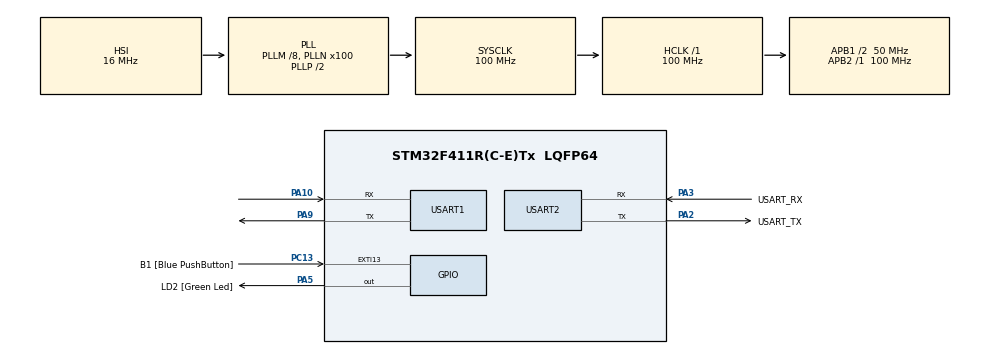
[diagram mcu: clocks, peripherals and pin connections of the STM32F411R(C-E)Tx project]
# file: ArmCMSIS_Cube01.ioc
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Mcu.Family=STM32F4
Mcu.Name=STM32F411R(C-E)Tx
Mcu.Package=LQFP64
NVIC.PriorityGroup=NVIC_PRIORITYGROUP_0
NVIC.USART1_IRQn=true\:0\:0\:false\:false\:true\:true\:true
NVIC.USART2_IRQn=true\:0\:0\:false\:false\:true\:true\:true
PA10.Mode=Asynchronous
PA10.Signal=USART1_RX
PA13.GPIO_Label=TMS
PA13.Mode=Serial_Wire
PA13.Signal=SYS_JTMS-SWDIO
PA14.GPIO_Label=TCK
PA14.Mode=Serial_Wire
PA14.Signal=SYS_JTCK-SWCLK
PA2.GPIO_Label=USART_TX
PA2.Mode=Asynchronous
PA2.Signal=USART2_TX
PA3.GPIO_Label=USART_RX
PA3.Mode=Asynchronous
PA3.Signal=USART2_RX
PA5.GPIO_Label=LD2 [Green Led]
PA5.Signal=GPIO_Output
PA9.Mode=Asynchronous
PA9.Signal=USART1_TX
PB3.GPIO_Label=SWO
PB3.Signal=SYS_JTDO-SWO
PC13-ANTI_TAMP.GPIO_Label=B1 [Blue PushButton]
PC13-ANTI_TAMP.GPIO_ModeDefaultEXTI=GPIO_MODE_IT_FALLING
PC13-ANTI_TAMP.Signal=GPXTI13
PC14-OSC32_IN.Mode=LSE-External-Oscillator
PC14-OSC32_IN.Signal=RCC_OSC32_IN
PC15-OSC32_OUT.Mode=LSE-External-Oscillator
PC15-OSC32_OUT.Signal=RCC_OSC32_OUT
PH0\ -\ OSC_IN.Mode=HSE-External-Clock-Source
PH0\ -\ OSC_IN.Signal=RCC_OSC_IN
PH1\ -\ OSC_OUT.Mode=HSE-External-Clock-Source
PH1\ -\ OSC_OUT.Signal=RCC_OSC_OUT
ProjectManager.HeapSize=0x800
ProjectManager.StackSize=0xF00
ProjectManager.TargetToolchain=MDK-ARM V5.27
RCC.48MHZClocksFreq_Value=50000000
RCC.AHBFreq_Value=100000000
RCC.APB1CLKDivider=RCC_HCLK_DIV2
RCC.APB1Freq_Value=50000000
RCC.APB1TimFreq_Value=100000000
RCC.APB2Freq_Value=100000000
RCC.APB2TimFreq_Value=100000000
RCC.CortexFreq_Value=100000000
RCC.FLatency-AdvancedSettings=FLASH_LATENCY_3
RCC.HCLKFreq_Value=100000000
RCC.HSE_VALUE=8000000
RCC.HSI_VALUE=16000000
RCC.PLLM=8
RCC.PLLN=100
RCC.SYSCLKFreq_VALUE=100000000
RCC.SYSCLKSource=RCC_SYSCLKSOURCE_PLLCLK
RCC.VCOOutputFreq_Value=200000000
USART1.VirtualMode=VM_ASYNC
USART2.VirtualMode=VM_ASYNC
board=NUCLEO-F411RE

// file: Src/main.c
/* USER CODE BEGIN Header */
/**
  ******************************************************************************
  * @file           : main.c
  * @brief          : Main program body
  ******************************************************************************
  * @attention
  *
  * <h2><center>&copy; Copyright (c) 2019 STMicroelectronics.
  * All rights reserved.</center></h2>
  *
  * This software component is licensed by ST under BSD 3-Clause license,
  * the "License"; You may not use this file except in compliance with the
  * License. You may obtain a copy of the License at:
  *                        opensource.org/licenses/BSD-3-Clause
  *
  ******************************************************************************
  */
/* USER CODE END Header */

#include "main.h"

/* USER CODE BEGIN Includes */
#include "stdio.h"
#include "Driver_USART.h"
#include "RTE_Components.h"
#include  CMSIS_device_header
#include "cmsis_os2.h"
#include "string.h"
/* USER CODE END Includes */

/* USER CODE BEGIN PM */
#define KEIL //KEIL ,True_STD
/* USER CODE END PM */

UART_HandleTypeDef huart1;
UART_HandleTypeDef huart2;

/* USER CODE BEGIN PV */
ARM_DRIVER_USART Driver_USART0;
/* USER CODE END PV */

void SystemClock_Config(void);
static void MX_GPIO_Init(void);
static void MX_USART1_UART_Init(void);
static void MX_USART2_UART_Init(void);
/* USER CODE BEGIN PFP */
#ifdef KEIL
     #ifdef __GNUC__
     //With GCC, small printf (option LD Linker->Libraries->Small printf
     //set to 'Yes') calls __io_putchar()
         #define PUTCHAR_PROTOTYPE int __io_putchar(int ch)
		#else
				 #define PUTCHAR_PROTOTYPE int fputc(int ch, FILE *f)
		#endif /* __GNUC__*/
#if 1
PUTCHAR_PROTOTYPE
{
	HAL_UART_Transmit(&huart2, (uint8_t *)&ch, 1, 0xFFFF);
	return ch;
}
				 #endif
#endif

#ifdef True_STD
int _write(int fd, char *str, int len)
{
	for(int i=0; i<len; i++)
	{
		HAL_UART_Transmit(&huart2, (uint8_t *)&str[i], 1, 0xFFFF);
	}
	return len;
}
#endif
/*----------------------------------------------------------------------------
 * Application Kernel info
 *---------------------------------------------------------------------------*/
void info (void) {
  char infobuf[100];
  osVersion_t osv;
  osStatus_t status;
  printf("osKernelGetInfo \r\n");
  status = osKernelGetInfo(&osv, infobuf, sizeof(infobuf));
  printf("kernel status = %d \r\n", status);
  if(status == osOK) {
    printf("Kernel Information: [%d]%s\r\n",strlen(infobuf), infobuf);
    printf("Kernel Version    : %d\r\n", osv.kernel);
    printf("Kernel API Version: %d\r\n", osv.api);
  }
  else
  {
    /* code */
    printf("kernel status = %d \r\n", status);
  }
  printf("osKernelGetInfo End \r\n");
}
/*----------------------------------------------------------------------------
 * Application main thread
 *---------------------------------------------------------------------------*/
void app_main (void *argument) {

  // ...
  int i=0;
	printf("app_main start!!\r\n");
  //info();
  for (;;)
  {
		#if 0
    printf("i=%d \r\n",i++);
    if(i>30000)
      i=0;
		#endif
  }
}
/* USER CODE END PFP */

int main(void)
{
  /* USER CODE BEGIN 1 */
  osThreadId_t tread_id;
  /* USER CODE END 1 */

  /* MCU Configuration--------------------------------------------------------*/

  /* Reset of all peripherals, Initializes the Flash interface and the Systick. */
  HAL_Init();

  /* Configure the system clock */
  SystemClock_Config();

  /* Initialize all configured peripherals */
  MX_GPIO_Init();
  MX_USART1_UART_Init();
  MX_USART2_UART_Init();
  /* USER CODE BEGIN 2 */
  printf("hello CMSIS !!\r\n");
  osKernelInitialize();                            // initialize RTX
  //NVIC_SetPriorityGrouping (3);                    // setup priority grouping
	//osThreadAttr_t *app_main_set;
	//app_main_set->stack_size = 1024;
  tread_id = osThreadNew(app_main, NULL, NULL);  // create some threads
  printf("osKernelStart[%X] !!\r\n", (int*)tread_id);
	info();
  if (osKernelGetState() == osKernelReady)
  {
    osKernelStart(); // Start thread execution
  }
  printf("osKernelStart status[%d] !!\r\n", osKernelGetState());
  //osKernelStart ();                                // start RTX kernel
  //info();
  /* USER CODE END 2 */

  /* Infinite loop */
  while (1)
  {

  }
}

void SystemClock_Config(void)
{
  RCC_OscInitTypeDef RCC_OscInitStruct = {0};
  RCC_ClkInitTypeDef RCC_ClkInitStruct = {0};

  /** Configure the main internal regulator output voltage
  */
  __HAL_RCC_PWR_CLK_ENABLE();
  __HAL_PWR_VOLTAGESCALING_CONFIG(PWR_REGULATOR_VOLTAGE_SCALE1);
  /** Initializes the CPU, AHB and APB busses clocks
  */
  RCC_OscInitStruct.OscillatorType = RCC_OSCILLATORTYPE_HSI;
  RCC_OscInitStruct.HSIState = RCC_HSI_ON;
  RCC_OscInitStruct.HSICalibrationValue = RCC_HSICALIBRATION_DEFAULT;
  RCC_OscInitStruct.PLL.PLLState = RCC_PLL_ON;
  RCC_OscInitStruct.PLL.PLLSource = RCC_PLLSOURCE_HSI;
  RCC_OscInitStruct.PLL.PLLM = 8;
  RCC_OscInitStruct.PLL.PLLN = 100;
  RCC_OscInitStruct.PLL.PLLP = RCC_PLLP_DIV2;
  RCC_OscInitStruct.PLL.PLLQ = 4;
  if (HAL_RCC_OscConfig(&RCC_OscInitStruct) != HAL_OK)
  {
    Error_Handler();
  }
  /** Initializes the CPU, AHB and APB busses clocks
  */
  RCC_ClkInitStruct.ClockType = RCC_CLOCKTYPE_HCLK|RCC_CLOCKTYPE_SYSCLK
                              |RCC_CLOCKTYPE_PCLK1|RCC_CLOCKTYPE_PCLK2;
  RCC_ClkInitStruct.SYSCLKSource = RCC_SYSCLKSOURCE_PLLCLK;
  RCC_ClkInitStruct.AHBCLKDivider = RCC_SYSCLK_DIV1;
  RCC_ClkInitStruct.APB1CLKDivider = RCC_HCLK_DIV2;
  RCC_ClkInitStruct.APB2CLKDivider = RCC_HCLK_DIV1;

  if (HAL_RCC_ClockConfig(&RCC_ClkInitStruct, FLASH_LATENCY_3) != HAL_OK)
  {
    Error_Handler();
  }
}

static void MX_USART1_UART_Init(void)
{

  huart1.Instance = USART1;
  huart1.Init.BaudRate = 115200;
  huart1.Init.WordLength = UART_WORDLENGTH_8B;
  huart1.Init.StopBits = UART_STOPBITS_1;
  huart1.Init.Parity = UART_PARITY_NONE;
  huart1.Init.Mode = UART_MODE_TX_RX;
  huart1.Init.HwFlowCtl = UART_HWCONTROL_NONE;
  huart1.Init.OverSampling = UART_OVERSAMPLING_16;
  if (HAL_UART_Init(&huart1) != HAL_OK)
  {
    Error_Handler();
  }

}

static void MX_USART2_UART_Init(void)
{

  huart2.Instance = USART2;
  huart2.Init.BaudRate = 115200;
  huart2.Init.WordLength = UART_WORDLENGTH_8B;
  huart2.Init.StopBits = UART_STOPBITS_1;
  huart2.Init.Parity = UART_PARITY_NONE;
  huart2.Init.Mode = UART_MODE_TX_RX;
  huart2.Init.HwFlowCtl = UART_HWCONTROL_NONE;
  huart2.Init.OverSampling = UART_OVERSAMPLING_16;
  if (HAL_UART_Init(&huart2) != HAL_OK)
  {
    Error_Handler();
  }

}

static void MX_GPIO_Init(void)
{
  GPIO_InitTypeDef GPIO_InitStruct = {0};

  /* GPIO Ports Clock Enable */
  __HAL_RCC_GPIOC_CLK_ENABLE();
  __HAL_RCC_GPIOH_CLK_ENABLE();
  __HAL_RCC_GPIOA_CLK_ENABLE();
  __HAL_RCC_GPIOB_CLK_ENABLE();

  /*Configure GPIO pin Output Level */
  HAL_GPIO_WritePin(LD2_GPIO_Port, LD2_Pin, GPIO_PIN_RESET);

  /*Configure GPIO pin : B1_Pin */
  GPIO_InitStruct.Pin = B1_Pin;
  GPIO_InitStruct.Mode = GPIO_MODE_IT_FALLING;
  GPIO_InitStruct.Pull = GPIO_NOPULL;
  HAL_GPIO_Init(B1_GPIO_Port, &GPIO_InitStruct);

  /*Configure GPIO pin : LD2_Pin */
  GPIO_InitStruct.Pin = LD2_Pin;
  GPIO_InitStruct.Mode = GPIO_MODE_OUTPUT_PP;
  GPIO_InitStruct.Pull = GPIO_NOPULL;
  GPIO_InitStruct.Speed = GPIO_SPEED_FREQ_LOW;
  HAL_GPIO_Init(LD2_GPIO_Port, &GPIO_InitStruct);

}

void Error_Handler(void)
{
}

/************************ (C) COPYRIGHT STMicroelectronics *****END OF FILE****/
